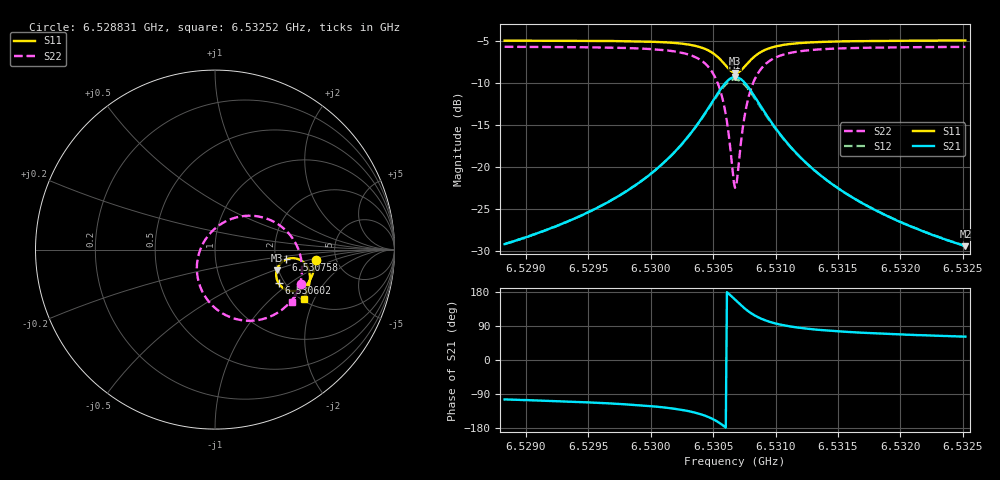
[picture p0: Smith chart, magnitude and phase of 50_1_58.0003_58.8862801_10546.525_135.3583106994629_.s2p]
#  HZ  S  RI  R  50.00
! Rohde & Schwarz Vector Network Analyzer
! Rohde-Schwarz,ZNB20-2Port,1311601062101988,3.16
! Created: UTC 3/21/2024, 12:52:27 AM
! freq[Hz]  re:S11  im:S11  re:S21  im:S21  re:S12  im:S12  re:S22  im:S22
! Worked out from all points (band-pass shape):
!   401 points, 6.528831 GHz to 6.53252 GHz, reference 50 ohm
!   highest |S21| = -9.30 dB at 6.530675 GHz (marker M1); lowest = -29.4 dB at 6.53252 GHz (marker M2)
!   |S21| within 3 dB of the highest: 6.530492 GHz to 6.530862 GHz (369.6 kHz wide, 0.00566 % of centre)
!   lowest |S11| = -8.8 dB at 6.530675 GHz (marker M3), VSWR 2.14, Z = 97.8 - j26.1 ohm
!   |S11| at or under -10 dB: nowhere
!   |S22| runs from -22.5 to -5.7 dB; largest |S21 - S12| = 0.015
!   S11 on the Smith chart (normalised r, x): 6.528831 GHz: 3.47, -0.60; 6.530602 GHz: 1.86, -0.83; 6.530758 GHz: 2.28, -0.30; 6.53252 GHz: 2.07, -1.66
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6.5288309e9  0.5607 -0.0591  -0.00851 -0.0337  -0.00914 -0.0335  0.4818 -0.1907
6.5294488e9  0.5512 -0.1127  -0.0186 -0.0481  -0.0198 -0.0477  0.4488 -0.2525
6.5297624e9  0.5415 -0.1435  -0.0302 -0.0615  -0.032 -0.0606  0.4184 -0.2929
6.5300667e9  0.5234 -0.1794  -0.0557 -0.0832  -0.058 -0.0814  0.3607 -0.3437
6.5302881e9  0.4933 -0.2115  -0.1025 -0.1063  -0.1059 -0.1025  0.2662 -0.3872
6.5304449e9  0.4439 -0.2308  -0.1817 -0.1129  -0.1843 -0.1048  0.1211 -0.3879
6.5305371e9  0.3927 -0.2219  -0.2619 -0.0793  -0.2602 -0.0677  -0.0113 -0.3148
6.530574e9  0.3697 -0.2059  -0.2962 -0.0451  -0.2911 -0.0328  -0.0622 -0.2496
6.5306016e9  0.3544 -0.1873  -0.3174 -0.00831  -0.3094 0.00318  -0.0899 -0.184
6.530657e9  0.3408 -0.1352  -0.3294 0.0873  -0.3166 0.0939  -0.0901 -0.024
6.5306754e9  0.3437 -0.116  -0.3206 0.1208  -0.3073 0.1249  -0.0694 0.0291
6.5306939e9  0.3505 -0.0979  -0.3055 0.1522  -0.2923 0.1539  -0.0382 0.0774
6.5307308e9  0.3737 -0.0687  -0.2603 0.2014  -0.2491 0.1991  0.0448 0.1495
6.5307584e9  0.3958 -0.0551  -0.22 0.2237  -0.2109 0.2198  0.1154 0.1787
6.5307861e9  0.4184 -0.0487  -0.1799 0.234  -0.1732 0.2296  0.1839 0.1888
6.530823e9  0.4455 -0.0485  -0.1326 0.234  -0.1281 0.2298  0.2632 0.18
6.5309152e9  0.4917 -0.0687  -0.0544 0.2029  -0.0526 0.2005  0.3909 0.1103
6.5310535e9  0.5198 -0.1065  -0.00614 0.1506  -0.00497 0.1498  0.4636 0.0046
6.5312933e9  0.5294 -0.1532  0.015 0.097  0.0161 0.0967  0.485 -0.1069
6.53157e9  0.5256 -0.1896  0.0188 0.0666  0.0198 0.0663  0.4767 -0.1768
6.5319112e9  0.5163 -0.2237  0.0183 0.0469  0.0191 0.0467  0.46 -0.2296
6.5325199e9  0.4952 -0.2727  0.016 0.0298  0.0167 0.0296  0.4284 -0.2905
